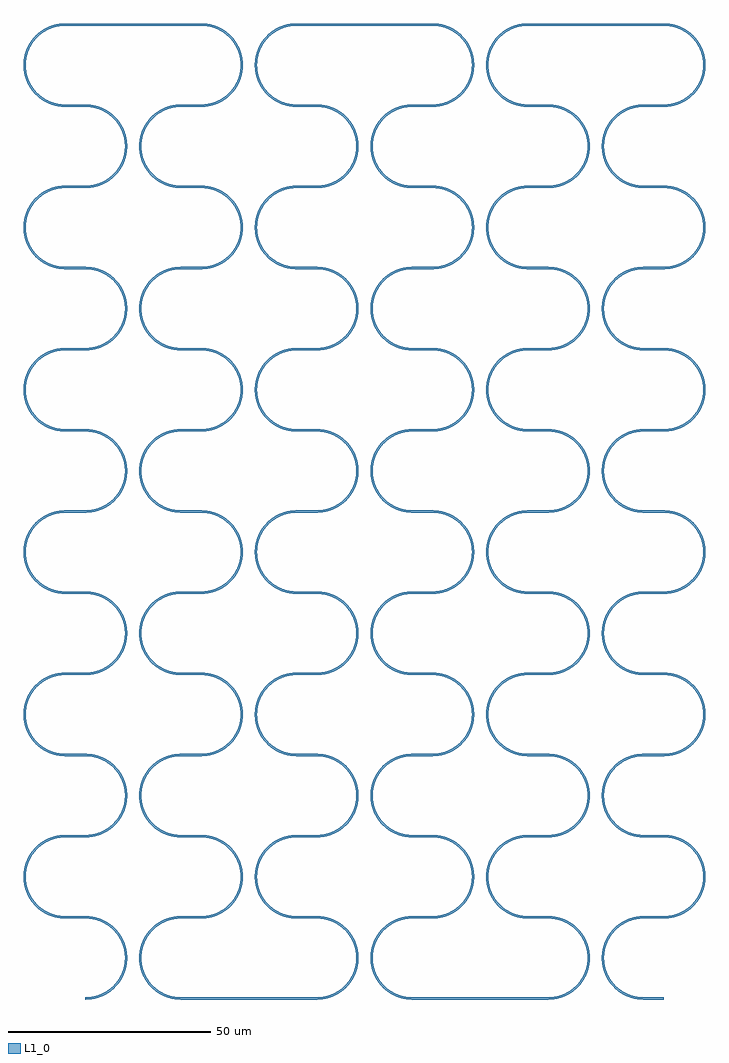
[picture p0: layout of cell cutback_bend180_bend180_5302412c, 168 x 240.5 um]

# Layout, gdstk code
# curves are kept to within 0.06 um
from math import pi, radians
import gdstk
lib = gdstk.Library(unit=1e-6, precision=1e-09)
def R(c, l, rs):  # rectangles x0, y0, x1, y1
    for r in rs: c.add(gdstk.rectangle(r[:2], r[2:], *l))
def P(c, l, *ps):  # polygons
    for p in ps: c.add(gdstk.Polygon(p, *l))
L1_0 = (1, 0)

bend_circular180 = lib.new_cell('bend_circular180')
P(bend_circular180, L1_0, [(0,-0.25),(1.961,-0.061),(3.85,0.5),(4.745,0.914),(5.671,1.462),(6.466,2.046),(7.264,2.768),(7.982,3.569),(8.563,4.366),(9.483,6.109),(10.052,7.995),(10.25,9.955),(10.207,10.94),(10.052,12.005),(9.483,13.891),(8.563,15.634),(7.982,16.431),(7.264,17.232),(5.82,18.438),(4.982,18.958),(4.016,19.431),(2.137,20.025),(1.074,20.194),(0.09,20.25),(0,20.25),(0,19.75),(1.107,19.687),(2.199,19.499),(3.344,19.159),(4.362,18.72),(5.745,17.878),(7.088,16.695),(8.192,15.288),(9.052,13.623),(9.594,11.74),(9.75,9.957),(9.562,8.093),(9.02,6.298),(8.192,4.712),(7.029,3.243),(5.745,2.122),(4.362,1.28),(3.344,0.841),(2.199,0.501),(1.107,0.313),(0,0.25)])

straight_length5_width50 = lib.new_cell('straight_length5_width500n')
R(straight_length5_width50, L1_0, [(0,-0.25,5,0.25)])

straight_length28p5_widt = lib.new_cell('straight_length28p5_width500n')
R(straight_length28p5_widt, L1_0, [(0,-0.25,28.5,0.25)])

cutback_bend180_bend180_ = lib.new_cell('cutback_bend180_bend180_5302412c')
cutback_bend180_bend180_.add(gdstk.Reference(bend_circular180, (0,0)))
cutback_bend180_bend180_.add(gdstk.Reference(straight_length5_width50, (0,20), rotation=pi))
cutback_bend180_bend180_.add(gdstk.Reference(bend_circular180, (-5,40), rotation=pi))
cutback_bend180_bend180_.add(gdstk.Reference(straight_length5_width50, (-5,40)))
cutback_bend180_bend180_.add(gdstk.Reference(bend_circular180, (0,40)))
cutback_bend180_bend180_.add(gdstk.Reference(straight_length5_width50, (0,60), rotation=pi))
cutback_bend180_bend180_.add(gdstk.Reference(bend_circular180, (-5,80), rotation=pi))
cutback_bend180_bend180_.add(gdstk.Reference(straight_length5_width50, (-5,80)))
cutback_bend180_bend180_.add(gdstk.Reference(bend_circular180, (0,80)))
cutback_bend180_bend180_.add(gdstk.Reference(straight_length5_width50, (0,100), rotation=pi))
cutback_bend180_bend180_.add(gdstk.Reference(bend_circular180, (-5,120), rotation=pi))
cutback_bend180_bend180_.add(gdstk.Reference(straight_length5_width50, (-5,120)))
cutback_bend180_bend180_.add(gdstk.Reference(bend_circular180, (0,120)))
cutback_bend180_bend180_.add(gdstk.Reference(straight_length5_width50, (0,140), rotation=pi))
cutback_bend180_bend180_.add(gdstk.Reference(bend_circular180, (-5,160), rotation=pi))
cutback_bend180_bend180_.add(gdstk.Reference(straight_length5_width50, (-5,160)))
cutback_bend180_bend180_.add(gdstk.Reference(bend_circular180, (0,160)))
cutback_bend180_bend180_.add(gdstk.Reference(straight_length5_width50, (0,180), rotation=pi))
cutback_bend180_bend180_.add(gdstk.Reference(bend_circular180, (-5,200), rotation=pi))
cutback_bend180_bend180_.add(gdstk.Reference(straight_length5_width50, (-5,200)))
cutback_bend180_bend180_.add(gdstk.Reference(bend_circular180, (0,200)))
cutback_bend180_bend180_.add(gdstk.Reference(straight_length5_width50, (0,220), rotation=pi))
cutback_bend180_bend180_.add(gdstk.Reference(bend_circular180, (-5,240), rotation=pi))
cutback_bend180_bend180_.add(gdstk.Reference(straight_length5_width50, (-5,240)))
cutback_bend180_bend180_.add(gdstk.Reference(straight_length28p5_widt, (0,240)))
cutback_bend180_bend180_.add(gdstk.Reference(bend_circular180, (28.5,220)))
cutback_bend180_bend180_.add(gdstk.Reference(straight_length5_width50, (28.5,220), rotation=pi))
cutback_bend180_bend180_.add(gdstk.Reference(bend_circular180, (23.5,220), rotation=pi))
cutback_bend180_bend180_.add(gdstk.Reference(straight_length5_width50, (23.5,200)))
cutback_bend180_bend180_.add(gdstk.Reference(bend_circular180, (28.5,180)))
cutback_bend180_bend180_.add(gdstk.Reference(straight_length5_width50, (28.5,180), rotation=pi))
cutback_bend180_bend180_.add(gdstk.Reference(bend_circular180, (23.5,180), rotation=pi))
cutback_bend180_bend180_.add(gdstk.Reference(straight_length5_width50, (23.5,160)))
cutback_bend180_bend180_.add(gdstk.Reference(bend_circular180, (28.5,140)))
cutback_bend180_bend180_.add(gdstk.Reference(straight_length5_width50, (28.5,140), rotation=pi))
cutback_bend180_bend180_.add(gdstk.Reference(bend_circular180, (23.5,140), rotation=pi))
cutback_bend180_bend180_.add(gdstk.Reference(straight_length5_width50, (23.5,120)))
cutback_bend180_bend180_.add(gdstk.Reference(bend_circular180, (28.5,100)))
cutback_bend180_bend180_.add(gdstk.Reference(straight_length5_width50, (28.5,100), rotation=pi))
cutback_bend180_bend180_.add(gdstk.Reference(bend_circular180, (23.5,100), rotation=pi))
cutback_bend180_bend180_.add(gdstk.Reference(straight_length5_width50, (23.5,80)))
cutback_bend180_bend180_.add(gdstk.Reference(bend_circular180, (28.5,60)))
cutback_bend180_bend180_.add(gdstk.Reference(straight_length5_width50, (28.5,60), rotation=pi))
cutback_bend180_bend180_.add(gdstk.Reference(bend_circular180, (23.5,60), rotation=pi))
cutback_bend180_bend180_.add(gdstk.Reference(straight_length5_width50, (23.5,40)))
cutback_bend180_bend180_.add(gdstk.Reference(bend_circular180, (28.5,20)))
cutback_bend180_bend180_.add(gdstk.Reference(straight_length5_width50, (28.5,20), rotation=pi))
cutback_bend180_bend180_.add(gdstk.Reference(bend_circular180, (23.5,20), rotation=pi))
cutback_bend180_bend180_.add(gdstk.Reference(straight_length5_width50, (23.5,0)))
cutback_bend180_bend180_.add(gdstk.Reference(straight_length28p5_widt, (28.5,0)))
cutback_bend180_bend180_.add(gdstk.Reference(bend_circular180, (57,0)))
cutback_bend180_bend180_.add(gdstk.Reference(straight_length5_width50, (57,20), rotation=pi))
cutback_bend180_bend180_.add(gdstk.Reference(bend_circular180, (52,40), rotation=pi))
cutback_bend180_bend180_.add(gdstk.Reference(straight_length5_width50, (52,40)))
cutback_bend180_bend180_.add(gdstk.Reference(bend_circular180, (57,40)))
cutback_bend180_bend180_.add(gdstk.Reference(straight_length5_width50, (57,60), rotation=pi))
cutback_bend180_bend180_.add(gdstk.Reference(bend_circular180, (52,80), rotation=pi))
cutback_bend180_bend180_.add(gdstk.Reference(straight_length5_width50, (52,80)))
cutback_bend180_bend180_.add(gdstk.Reference(bend_circular180, (57,80)))
cutback_bend180_bend180_.add(gdstk.Reference(straight_length5_width50, (57,100), rotation=pi))
cutback_bend180_bend180_.add(gdstk.Reference(bend_circular180, (52,120), rotation=pi))
cutback_bend180_bend180_.add(gdstk.Reference(straight_length5_width50, (52,120)))
cutback_bend180_bend180_.add(gdstk.Reference(bend_circular180, (57,120)))
cutback_bend180_bend180_.add(gdstk.Reference(straight_length5_width50, (57,140), rotation=pi))
cutback_bend180_bend180_.add(gdstk.Reference(bend_circular180, (52,160), rotation=pi))
cutback_bend180_bend180_.add(gdstk.Reference(straight_length5_width50, (52,160)))
cutback_bend180_bend180_.add(gdstk.Reference(bend_circular180, (57,160)))
cutback_bend180_bend180_.add(gdstk.Reference(straight_length5_width50, (57,180), rotation=pi))
cutback_bend180_bend180_.add(gdstk.Reference(bend_circular180, (52,200), rotation=pi))
cutback_bend180_bend180_.add(gdstk.Reference(straight_length5_width50, (52,200)))
cutback_bend180_bend180_.add(gdstk.Reference(bend_circular180, (57,200)))
cutback_bend180_bend180_.add(gdstk.Reference(straight_length5_width50, (57,220), rotation=pi))
cutback_bend180_bend180_.add(gdstk.Reference(bend_circular180, (52,240), rotation=pi))
cutback_bend180_bend180_.add(gdstk.Reference(straight_length5_width50, (52,240)))
cutback_bend180_bend180_.add(gdstk.Reference(straight_length28p5_widt, (57,240)))
cutback_bend180_bend180_.add(gdstk.Reference(bend_circular180, (85.499,220)))
cutback_bend180_bend180_.add(gdstk.Reference(straight_length5_width50, (85.499,220), rotation=pi))
cutback_bend180_bend180_.add(gdstk.Reference(bend_circular180, (80.499,220), rotation=pi))
cutback_bend180_bend180_.add(gdstk.Reference(straight_length5_width50, (80.499,200)))
cutback_bend180_bend180_.add(gdstk.Reference(bend_circular180, (85.499,180)))
cutback_bend180_bend180_.add(gdstk.Reference(straight_length5_width50, (85.499,180), rotation=pi))
cutback_bend180_bend180_.add(gdstk.Reference(bend_circular180, (80.499,180), rotation=pi))
cutback_bend180_bend180_.add(gdstk.Reference(straight_length5_width50, (80.499,160)))
cutback_bend180_bend180_.add(gdstk.Reference(bend_circular180, (85.499,140)))
cutback_bend180_bend180_.add(gdstk.Reference(straight_length5_width50, (85.499,140), rotation=pi))
cutback_bend180_bend180_.add(gdstk.Reference(bend_circular180, (80.499,140), rotation=pi))
cutback_bend180_bend180_.add(gdstk.Reference(straight_length5_width50, (80.499,120)))
cutback_bend180_bend180_.add(gdstk.Reference(bend_circular180, (85.499,100)))
cutback_bend180_bend180_.add(gdstk.Reference(straight_length5_width50, (85.499,100), rotation=pi))
cutback_bend180_bend180_.add(gdstk.Reference(bend_circular180, (80.499,100), rotation=pi))
cutback_bend180_bend180_.add(gdstk.Reference(straight_length5_width50, (80.499,80)))
cutback_bend180_bend180_.add(gdstk.Reference(bend_circular180, (85.499,60)))
cutback_bend180_bend180_.add(gdstk.Reference(straight_length5_width50, (85.499,60), rotation=pi))
cutback_bend180_bend180_.add(gdstk.Reference(bend_circular180, (80.499,60), rotation=pi))
cutback_bend180_bend180_.add(gdstk.Reference(straight_length5_width50, (80.499,40)))
cutback_bend180_bend180_.add(gdstk.Reference(bend_circular180, (85.499,20)))
cutback_bend180_bend180_.add(gdstk.Reference(straight_length5_width50, (85.499,20), rotation=pi))
cutback_bend180_bend180_.add(gdstk.Reference(bend_circular180, (80.499,20), rotation=pi))
cutback_bend180_bend180_.add(gdstk.Reference(straight_length5_width50, (80.499,0)))
cutback_bend180_bend180_.add(gdstk.Reference(straight_length28p5_widt, (85.499,0)))
cutback_bend180_bend180_.add(gdstk.Reference(bend_circular180, (113.999,0)))
cutback_bend180_bend180_.add(gdstk.Reference(straight_length5_width50, (113.999,20), rotation=pi))
cutback_bend180_bend180_.add(gdstk.Reference(bend_circular180, (108.999,40), rotation=pi))
cutback_bend180_bend180_.add(gdstk.Reference(straight_length5_width50, (108.999,40)))
cutback_bend180_bend180_.add(gdstk.Reference(bend_circular180, (113.999,40)))
cutback_bend180_bend180_.add(gdstk.Reference(straight_length5_width50, (113.999,60), rotation=pi))
cutback_bend180_bend180_.add(gdstk.Reference(bend_circular180, (108.999,80), rotation=pi))
cutback_bend180_bend180_.add(gdstk.Reference(straight_length5_width50, (108.999,80)))
cutback_bend180_bend180_.add(gdstk.Reference(bend_circular180, (113.999,80)))
cutback_bend180_bend180_.add(gdstk.Reference(straight_length5_width50, (113.999,100), rotation=pi))
cutback_bend180_bend180_.add(gdstk.Reference(bend_circular180, (108.999,120), rotation=pi))
cutback_bend180_bend180_.add(gdstk.Reference(straight_length5_width50, (108.999,120)))
cutback_bend180_bend180_.add(gdstk.Reference(bend_circular180, (113.999,120)))
cutback_bend180_bend180_.add(gdstk.Reference(straight_length5_width50, (113.999,140), rotation=pi))
cutback_bend180_bend180_.add(gdstk.Reference(bend_circular180, (108.999,160), rotation=pi))
cutback_bend180_bend180_.add(gdstk.Reference(straight_length5_width50, (108.999,160)))
cutback_bend180_bend180_.add(gdstk.Reference(bend_circular180, (113.999,160)))
cutback_bend180_bend180_.add(gdstk.Reference(straight_length5_width50, (113.999,180), rotation=pi))
cutback_bend180_bend180_.add(gdstk.Reference(bend_circular180, (108.999,200), rotation=pi))
cutback_bend180_bend180_.add(gdstk.Reference(straight_length5_width50, (108.999,200)))
cutback_bend180_bend180_.add(gdstk.Reference(bend_circular180, (113.999,200)))
cutback_bend180_bend180_.add(gdstk.Reference(straight_length5_width50, (113.999,220), rotation=pi))
cutback_bend180_bend180_.add(gdstk.Reference(bend_circular180, (108.999,240), rotation=pi))
cutback_bend180_bend180_.add(gdstk.Reference(straight_length5_width50, (108.999,240)))
cutback_bend180_bend180_.add(gdstk.Reference(straight_length28p5_widt, (113.999,240)))
cutback_bend180_bend180_.add(gdstk.Reference(bend_circular180, (142.499,220)))
cutback_bend180_bend180_.add(gdstk.Reference(straight_length5_width50, (142.499,220), rotation=pi))
cutback_bend180_bend180_.add(gdstk.Reference(bend_circular180, (137.499,220), rotation=pi))
cutback_bend180_bend180_.add(gdstk.Reference(straight_length5_width50, (137.499,200)))
cutback_bend180_bend180_.add(gdstk.Reference(bend_circular180, (142.499,180)))
cutback_bend180_bend180_.add(gdstk.Reference(straight_length5_width50, (142.499,180), rotation=pi))
cutback_bend180_bend180_.add(gdstk.Reference(bend_circular180, (137.499,180), rotation=pi))
cutback_bend180_bend180_.add(gdstk.Reference(straight_length5_width50, (137.499,160)))
cutback_bend180_bend180_.add(gdstk.Reference(bend_circular180, (142.499,140)))
cutback_bend180_bend180_.add(gdstk.Reference(straight_length5_width50, (142.499,140), rotation=pi))
cutback_bend180_bend180_.add(gdstk.Reference(bend_circular180, (137.499,140), rotation=pi))
cutback_bend180_bend180_.add(gdstk.Reference(straight_length5_width50, (137.499,120)))
cutback_bend180_bend180_.add(gdstk.Reference(bend_circular180, (142.499,100)))
cutback_bend180_bend180_.add(gdstk.Reference(straight_length5_width50, (142.499,100), rotation=pi))
cutback_bend180_bend180_.add(gdstk.Reference(bend_circular180, (137.499,100), rotation=pi))
cutback_bend180_bend180_.add(gdstk.Reference(straight_length5_width50, (137.499,80)))
cutback_bend180_bend180_.add(gdstk.Reference(bend_circular180, (142.499,60)))
cutback_bend180_bend180_.add(gdstk.Reference(straight_length5_width50, (142.499,60), rotation=pi))
cutback_bend180_bend180_.add(gdstk.Reference(bend_circular180, (137.499,60), rotation=pi))
cutback_bend180_bend180_.add(gdstk.Reference(straight_length5_width50, (137.499,40)))
cutback_bend180_bend180_.add(gdstk.Reference(bend_circular180, (142.499,20)))
cutback_bend180_bend180_.add(gdstk.Reference(straight_length5_width50, (142.499,20), rotation=pi))
cutback_bend180_bend180_.add(gdstk.Reference(bend_circular180, (137.499,20), rotation=pi))
cutback_bend180_bend180_.add(gdstk.Reference(straight_length5_width50, (137.499,0)))

lib.write_gds('cutback_bend180_bend180_5302412c.gds')
